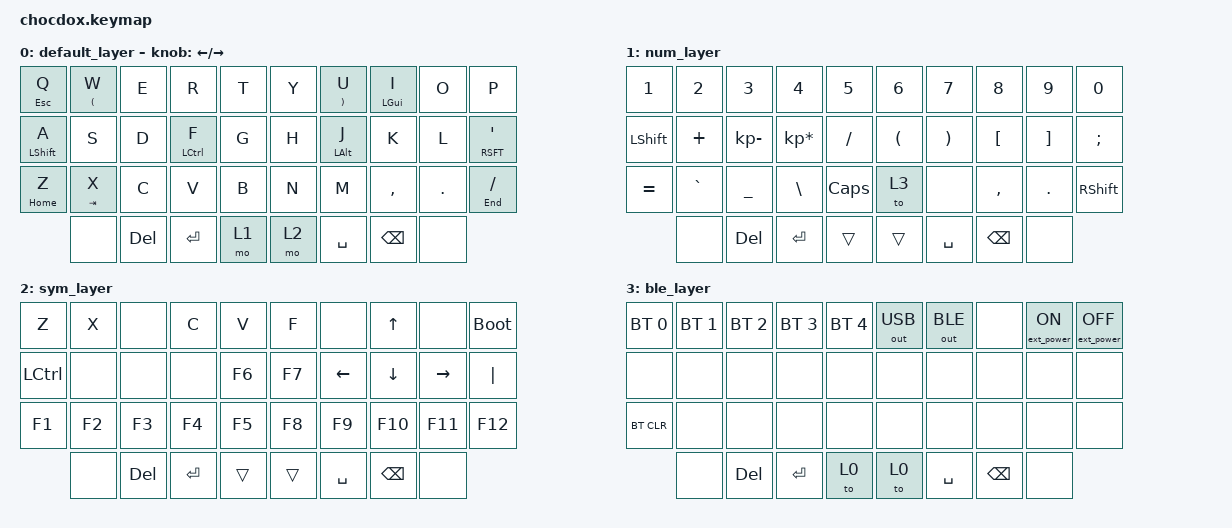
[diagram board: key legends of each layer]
/*
 * Copyright (c) 2020 The ZMK Contributors
 *
 * SPDX-License-Identifier: MIT
 */

#include <behaviors.dtsi>
#include <dt-bindings/zmk/keys.h>
#include <dt-bindings/zmk/bt.h>
#include <dt-bindings/zmk/outputs.h>
#include <dt-bindings/zmk/ext_power.h>

&kscan0 {
    debounce-period = <30>;
};

/ {
    behaviors {
        hm: homerow_mods {
            compatible = "zmk,behavior-hold-tap";
            label = "HOMEROW_MODS";
            #binding-cells = <2>;
            tapping-term-ms = <175>;
            quick_tap_ms = <0>;
            flavor = "tap-preferred";
            bindings = <&kp>, <&kp>;
        };
    };
        keymap {
                compatible = "zmk,keymap";

                default_layer {
// -----------------------------------------------------------------------------------------
// |Q/esc| W/( |  E  |  R  |  T   |       |  Y  |  U/) |I/WIN|  O  |   P  |
// |A/sft|  S  |  D  |F/Ctr|  G   |       |  H  |J/ALT |  K  |  L  |'/shft|
// |Z/hom|X/TAB|  C  |  V  |  B   |       |  N  |  M   |  ,  |  .  |//End |
//       | LENC| DEL | RET | NUM  |       | NAV | SPACE| BSPC|RENC |
                        bindings = <
   &hm ESC Q   &hm LPAR W &kp E   &kp R        &kp T        &kp Y &hm RPAR U  &hm LGUI I &kp O    &kp P
   &hm LSHFT A &kp S      &kp D   &hm LCTRL F  &kp G        &kp H &hm LALT J  &kp K      &kp L    &hm RSFT APOS
   &hm HOME Z  &hm TAB X  &kp C   &kp V        &kp B        &kp N &kp M       &kp COMMA  &kp DOT  &hm END FSLH
               &none      &kp DEL &kp RET      &mo 1        &mo 2 &kp SPACE   &kp BSPC   &none
                        >;

                        sensor-bindings = <&inc_dec_kp LEFT RIGHT>; //Left enc does left and right arrow, right encoder does up and down arrow. If one doesn't work it's because slave side encoders are nonfunctional as of 3/29/21
                };
                num_layer {
// -----------------------------------------------------------------------------------------
// |  1  |  2  |  3  |  4  |  5  |       |  6  |  7  |  8  |  9  |  0 |
// |Shift|  +  |  -  |  *  |  /  |       |  (  |  )  |  [  |  ]  |  ; |
// |  =  | ~/` |  _  |  \  | CAPS|       | BLE |     |  ,  |  .  |Shft|
//       | LENC| DEL | RET | NAV |       | ALP |SPACE| BSPC|RENC |
                        bindings = <
   &kp N1    &kp N2    &kp N3       &kp N4           &kp N5           &kp N6         &kp N7    &kp N8    &kp N9   &kp N0
   &kp LSHFT &kp PLUS  &kp KP_MINUS &kp KP_MULTIPLY  &kp FSLH         &kp LPAR       &kp RPAR  &kp LBKT  &kp RBKT &kp SEMI
   &kp EQUAL &kp GRAVE &kp UNDER    &kp BSLH         &kp CAPS         &to 3          &none     &kp COMMA &kp DOT  &kp RSHFT
             &none     &kp DEL      &kp RET          &trans           &trans          &kp SPACE &kp BSPC  &none
                        >;                    
                };

                sym_layer {
// -----------------------------------------------------------------------------------------
// |  Z  |  X  |     |  C  |  V  |       |  F  |     |  Up |     |Reset|
// | Ctrl|     |     |     |  F6 |       | F7  | Left|Down |Right|Shift|
// |  F1 | F2  | F3  | F4  |  F5 |       | F8  | F9  | F10 | F11 | F12 |
//       | LENC| DEL | RET | ALP |       | NUM |SPACE| BSPC|RENC |
                        bindings = <
   &kp Z      &kp X    &none   &kp C   &kp V         &kp F  &none     &kp UP   &none     &bootloader
   &kp LCTRL  &none    &none   &none   &kp F6        &kp F7 &kp LEFT  &kp DOWN &kp RIGHT &kp PIPE
   &kp F1     &kp F2   &kp F3  &kp F4  &kp F5        &kp F8 &kp F9    &kp F10  &kp F11   &kp F12
              &none    &kp DEL &kp RET &trans       &trans &kp SPACE &kp BSPC &none
                        >;
                        
                };

                ble_layer {
// -----------------------------------------------------------------------------------------
// | P1  | P2  | P3  | P4  | P5  |   | USB | BLE |     |P ON |P OFF|
// |     |     |     |     |     |   |     |     |     |     |     |
// |Clear|     |     |     |     |   |     |     |     |     |     |
//       | LENC| DEL | RET | ALP |   | ALP |SPACE| BSPC|RENC |
                        bindings = <
   &bt BT_SEL 0 &bt BT_SEL 1 &bt BT_SEL 2 &bt BT_SEL 3 &bt BT_SEL 4         &out OUT_USB  &out OUT_BLE  &none     &ext_power EP_ON &ext_power EP_OFF
   &none        &none        &none        &none        &none                &none          &none        &none     &none            &none 
   &bt BT_CLR   &none        &none        &none        &none                &none          &none        &none     &none            &none 
                &none        &kp DEL      &kp RET      &to 0                &to 0          &kp SPACE    &kp BSPC  &none
                        >;
                };
        };
};
